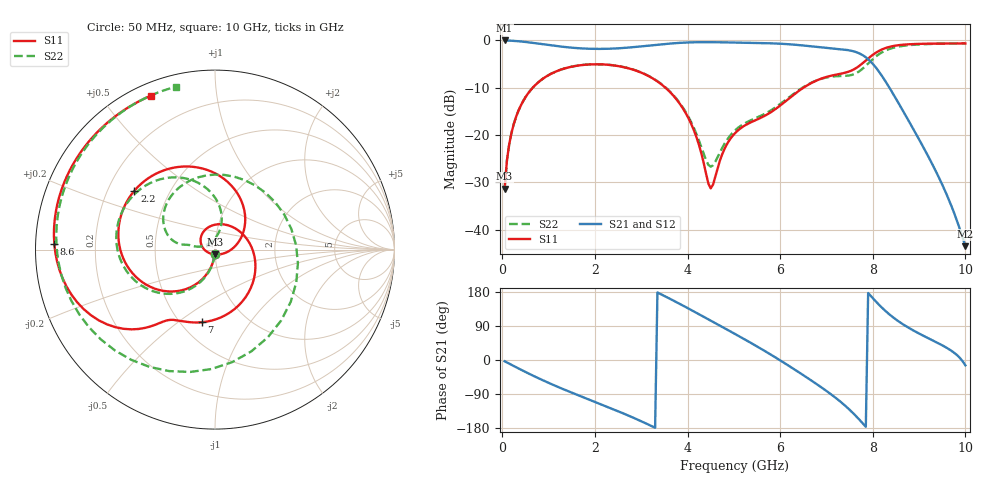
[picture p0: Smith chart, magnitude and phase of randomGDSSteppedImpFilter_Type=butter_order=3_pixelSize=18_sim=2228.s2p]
! freq	dB(S11)	phase(S11)	dB(S12)	phase(S12)
!  dB(S21)	phase(S21)	dB(S22)	phase(S22)
!S-par simulation data
#  GHz  S  DB  R 50
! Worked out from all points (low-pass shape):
!   200 points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, 50 MHz to 10 GHz, reference 50 ohm
!   highest |S21| = -0.01 dB at 50 MHz (marker M1); lowest = -43.5 dB at 10 GHz (marker M2)
!   |S21| within 3 dB of the highest: start of sweep to 7.762 GHz
!   lowest |S11| = -31.4 dB at 50 MHz (marker M3), VSWR 1.06, Z = 49.8 - j2.69 ohm
!   |S11| at or under -10 dB: start of sweep to 657.9 MHz; 3.523 GHz to 6.503 GHz (2.98 GHz wide, 59.4 % of centre)
!   |S22| runs from -31.4 to -0.6 dB; largest |S21 - S12| = 0
!   S11 on the Smith chart (normalised r, x): 50 MHz: 1.00, -0.05; 2.2 GHz: 0.31, +0.30; 7 GHz: 0.63, -0.62; 8.6 GHz: 0.05, +0.02; 10 GHz: 0.05, +0.67
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0.05  -31.36 -93.4  -0.01 -3.3  -0.01 -3.3  -31.36 -93.2
0.2  -19.49 -103.7  -0.07 -12.9  -0.07 -12.9  -19.49 -102.9
0.5  -12.02 -123.1  -0.33 -31.6  -0.33 -31.6  -12.02 -121.1
1.05  -7.07 -155.7  -1.03 -63.0  -1.03 -63.0  -7.06 -151.3
1.75  -5.18 167.1  -1.71 -98.4  -1.71 -98.4  -5.17 175.2
2.2  -5.10 143.9  -1.79 -120.2  -1.79 -120.2  -5.08 155.1
2.8  -6.11 110.7  -1.45 -150.7  -1.45 -150.7  -6.08 127.9
3.4  -9.02 72.2  -0.86 175.1  -0.86 175.1  -8.96 99.7
4.05  -17.05 18.7  -0.42 133.9  -0.42 133.9  -16.73 76.0
4.5  -31.29 -95.3  -0.37 104.0  -0.37 104.0  -26.71 124.2
5.05  -19.38 135.7  -0.46 67.0  -0.46 67.0  -18.82 171.0
5.9  -14.51 17.6  -0.65 6.6  -0.65 6.6  -14.15 171.1
6.3  -11.43 -35.5  -0.89 -24.1  -0.89 -24.1  -11.21 162.9
6.7  -8.88 -76.5  -1.28 -56.3  -1.28 -56.3  -8.82 140.4
7  -7.72 -100.1  -1.58 -81.7  -1.58 -81.7  -7.84 114.0
7.4  -6.84 -120.6  -1.96 -120.2  -1.96 -120.2  -7.49 58.0
7.75  -5.07 -129.9  -2.94 -162.6  -2.94 -162.6  -6.23 -22.0
8.05  -2.71 -145.3  -5.53 156.6  -5.53 156.6  -3.53 -91.8
8.35  -1.39 -166.1  -9.85 121.3  -9.85 121.3  -1.84 -141.8
8.6  -0.96 178.0  -14.01 98.4  -14.01 98.4  -1.23 -170.8
9.25  -0.68 144.4  -25.50 54.3  -25.50 54.3  -0.75 140.7
10  -0.64 112.6  -43.52 -14.1  -43.52 -14.1  -0.60 103.5
